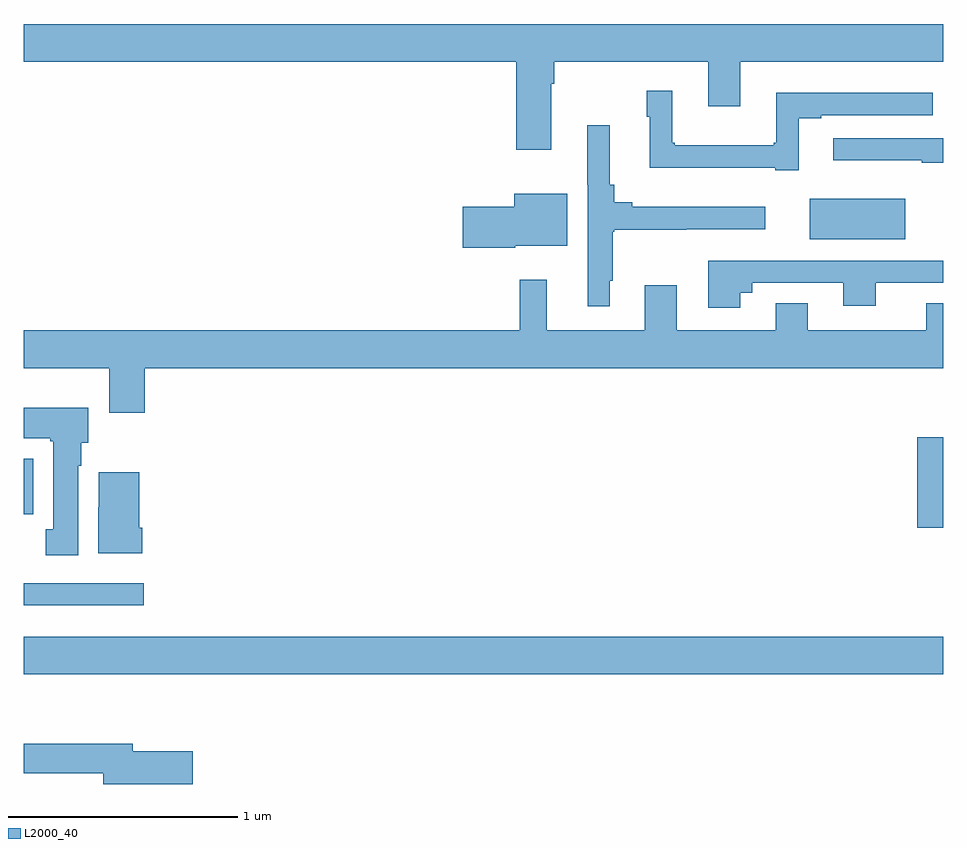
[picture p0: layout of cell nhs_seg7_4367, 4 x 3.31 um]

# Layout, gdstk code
import gdstk
lib = gdstk.Library(unit=1e-6, precision=1e-09)
def R(c, l, rs):  # rectangles x0, y0, x1, y1
    for r in rs: c.add(gdstk.rectangle(r[:2], r[2:], *l))
def P(c, l, *ps):  # polygons
    for p in ps: c.add(gdstk.Polygon(p, *l))
L2000_40 = (2000, 40)

nhs_seg7_4367 = lib.new_cell('nhs_seg7_4367')
R(nhs_seg7_4367, L2000_40, [(385,1060.556,389,1060.72), (385,1060.856,385.522,1060.953), (388.886,1061.193,389,1061.587), (385,1061.252,385.042,1061.494), (388.418,1062.449,388.834,1062.625)])
P(nhs_seg7_4367, L2000_40, [(387.295,1063.124),(387.308,1063.124),(387.308,1063.22),(387.977,1063.22),(387.977,1063.026),(388.117,1063.026),(388.117,1063.22),(389,1063.22),(389,1063.384),(385,1063.384),(385,1063.22),(387.143,1063.22),(387.143,1062.837),(387.295,1062.837)],
  [(388.372,1062.975),(388.468,1062.975),(388.468,1062.987),(388.954,1062.987),(388.954,1063.084),(388.274,1063.084),(388.274,1062.868),(388.263,1062.868),(388.263,1062.856),(387.832,1062.856),(387.832,1062.868),(387.82,1062.868),(387.82,1063.093),(387.711,1063.093),(387.711,1062.98),(387.722,1062.98),(387.722,1062.758),(388.268,1062.758),(388.268,1062.747),(388.372,1062.747)],
  [(387.55,1062.268),(387.562,1062.268),(387.562,1062.48),(387.569,1062.48),(387.569,1062.49),(387.881,1062.49),(387.881,1062.491),(388.225,1062.491),(388.225,1062.589),(387.646,1062.589),(387.646,1062.608),(387.569,1062.608),(387.569,1062.685),(387.55,1062.685),(387.55,1062.943),(387.452,1062.943),(387.452,1062.685),(387.453,1062.685),(387.453,1062.156),(387.55,1062.156)],
  [(389,1062.888),(388.521,1062.888),(388.521,1062.791),(388.906,1062.791),(388.906,1062.78),(389,1062.78)],
  [(387.138,1062.419),(387.364,1062.419),(387.364,1062.646),(387.134,1062.646),(387.134,1062.59),(386.91,1062.59),(386.91,1062.412),(387.138,1062.412)],
  [(388.117,1062.215),(388.168,1062.215),(388.168,1062.258),(388.565,1062.258),(388.565,1062.158),(388.705,1062.158),(388.705,1062.258),(389,1062.258),(389,1062.354),(388.322,1062.354),(388.322,1062.355),(387.977,1062.355),(387.977,1062.15),(388.117,1062.15)],
  [(385.526,1061.888),(389,1061.888),(389,1062.169),(388.925,1062.169),(388.925,1062.052),(388.411,1062.052),(388.411,1062.169),(388.271,1062.169),(388.271,1062.052),(387.841,1062.052),(387.841,1062.247),(387.701,1062.247),(387.701,1062.052),(387.275,1062.052),(387.275,1062.271),(387.157,1062.271),(387.157,1062.052),(385,1062.052),(385,1061.888),(385.373,1061.888),(385.373,1061.694),(385.526,1061.694)],
  [(385.237,1061.462),(385.25,1061.462),(385.25,1061.562),(385.282,1061.562),(385.282,1061.716),(385,1061.716),(385,1061.582),(385.117,1061.582),(385.117,1061.569),(385.13,1061.569),(385.13,1061.186),(385.097,1061.186),(385.097,1061.073),(385.237,1061.073)],
  [(385.517,1061.194),(385.504,1061.194),(385.504,1061.434),(385.326,1061.434),(385.326,1061.283),(385.325,1061.283),(385.325,1061.082),(385.517,1061.082)],
  [(385.735,1060.221),(385.474,1060.221),(385.474,1060.255),(385,1060.255),(385,1060.126),(385.346,1060.126),(385.346,1060.079),(385.735,1060.079)])

lib.write_gds('nhs_seg7_4367.gds')
